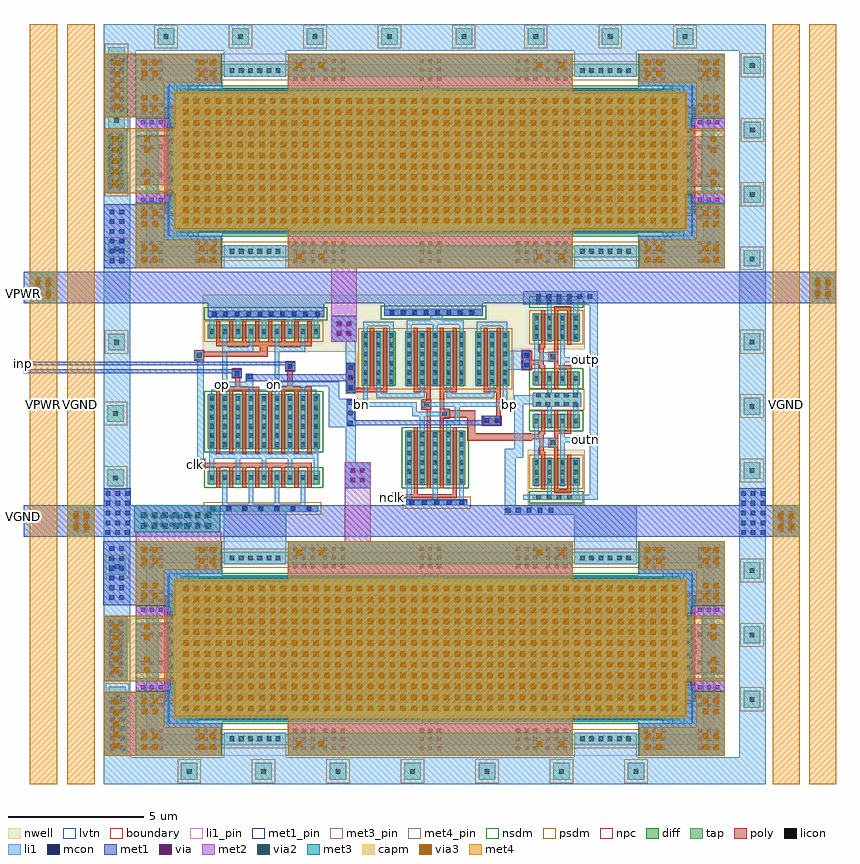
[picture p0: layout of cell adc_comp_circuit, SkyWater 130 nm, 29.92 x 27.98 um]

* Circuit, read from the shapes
.subckt adc_comp_circuit VGND VPWR bn bp clk inn inp nclk on op outn outp
XM1 VGND on VGND VGND sky130_fd_pr__nfet_01v8 w=18.4 l=3.9
XM2 VGND op VGND VGND sky130_fd_pr__nfet_01v8 w=18.4 l=3.9
XM3 VGND clk n1 VGND sky130_fd_pr__nfet_01v8 w=0.5 l=0.15 m=8
XM4 op inn n1 VGND sky130_fd_pr__nfet_01v8_lvt w=2 l=0.15 m=4
XM5 on inp n1 VGND sky130_fd_pr__nfet_01v8_lvt w=2 l=0.15 m=4
XM6 bn nclk VGND VGND sky130_fd_pr__nfet_01v8 w=2 l=0.15
XM7 VGND bp bn VGND sky130_fd_pr__nfet_01v8 w=2 l=0.15
XM8 bp bn VGND VGND sky130_fd_pr__nfet_01v8 w=2 l=0.15
XM9 VGND nclk bp VGND sky130_fd_pr__nfet_01v8 w=2 l=0.15
XM10 VGND bn n2 VGND sky130_fd_pr__nfet_01v8 w=0.5 l=0.15
XM11 VGND bp n3 VGND sky130_fd_pr__nfet_01v8 w=0.5 l=0.15
XM12 outn n2 VGND VGND sky130_fd_pr__nfet_01v8 w=0.5 l=0.15 m=2
XM13 outp n3 VGND VGND sky130_fd_pr__nfet_01v8 w=0.5 l=0.15 m=2
XM14 op clk VPWR VPWR sky130_fd_pr__pfet_01v8 w=0.5 l=0.15 m=4
XM15 on clk VPWR VPWR sky130_fd_pr__pfet_01v8 w=0.5 l=0.15 m=4
XM16 n4 op bn VPWR sky130_fd_pr__pfet_01v8 w=2 l=0.15 m=2
XM17 n4 bp VPWR VPWR sky130_fd_pr__pfet_01v8 w=2 l=0.15 m=2
XM18 n5 bn VPWR VPWR sky130_fd_pr__pfet_01v8 w=2 l=0.15 m=2
XM19 n5 on bp VPWR sky130_fd_pr__pfet_01v8 w=2 l=0.15 m=2
XM20 VPWR bn n2 VPWR sky130_fd_pr__pfet_01v8 w=1 l=0.15
XM21 VPWR bp n3 VPWR sky130_fd_pr__pfet_01v8 w=1 l=0.15
XM22 outn n2 VPWR VPWR sky130_fd_pr__pfet_01v8 w=1 l=0.15 m=2
XM23 outp n3 VPWR VPWR sky130_fd_pr__pfet_01v8 w=1 l=0.15 m=2
XC24 VGND VGND sky130_fd_pr__cap_mim_m3_1 w=18.9 l=5.1 m=2
.ends

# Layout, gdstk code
import gdstk
lib = gdstk.Library(unit=1e-6, precision=1e-09)
def R(c, l, rs):  # rectangles x0, y0, x1, y1
    for r in rs: c.add(gdstk.rectangle(r[:2], r[2:], *l))
def A(c, l, x, y, w, h, nx, ny, dx, dy):  # array of equal rectangles
    R(c, l, [(x+i*dx, y+j*dy, x+i*dx+w, y+j*dy+h) for i in range(nx) for j in range(ny)])
nwell = (64, 20)
diff = (65, 20)
tap = (65, 44)
poly = (66, 20)
licon = (66, 44)
li1_pin = (67, 16)
li1 = (67, 20)
mcon = (67, 44)
met1_pin = (68, 16)
met1 = (68, 20)
via = (68, 44)
met2 = (69, 20)
via2 = (69, 44)
met3_pin = (70, 16)
met3 = (70, 20)
via3 = (70, 44)
met4_pin = (71, 16)
met4 = (71, 20)
capm = (89, 44)
nsdm = (93, 44)
psdm = (94, 20)
npc = (95, 20)
lvtn = (125, 44)
boundary = (235, 4)

adc_noise_decoup_cell2 = lib.new_cell('adc_noise_decoup_cell2')
R(adc_noise_decoup_cell2, diff, [(1.65,1.3,20.05,6.6)])
R(adc_noise_decoup_cell2, tap, [(3.25,0.4,5.55,0.85), (16.15,0.4,18.45,0.85), (3.25,7.05,5.55,7.5), (16.15,7.05,18.45,7.5)])
R(adc_noise_decoup_cell2, poly, [(1.05,2,20.6,3.75), (1.05,3.75,20.65,4.15), (1.05,4.15,20.6,5.9)])
A(adc_noise_decoup_cell2, licon, 3.465, 0.54, 0.17, 0.17, 6, 2, 0.34, 6.65)
A(adc_noise_decoup_cell2, licon, 16.365, 0.54, 0.17, 0.17, 6, 2, 0.34, 6.65)
A(adc_noise_decoup_cell2, licon, 20.29, 2.69, 0.17, 0.17, 1, 3, 0, 0.45)
A(adc_noise_decoup_cell2, licon, 1.24, 2.74, 0.17, 0.17, 1, 3, 0, 0.45)
A(adc_noise_decoup_cell2, licon, 20.29, 4.09, 0.17, 0.17, 1, 3, 0, 0.45)
A(adc_noise_decoup_cell2, licon, 1.24, 4.14, 0.17, 0.17, 1, 3, 0, 0.45)
R(adc_noise_decoup_cell2, licon, [(1.745,1.565,1.915,1.735), (2.085,1.565,2.255,1.735), (2.545,1.565,2.715,1.735), (2.885,1.565,3.055,1.735), (3.345,1.565,3.515,1.735), (3.685,1.565,3.855,1.735), (4.145,1.565,4.315,1.735), (4.485,1.565,4.655,1.735), (4.945,1.565,5.115,1.735), (5.285,1.565,5.455,1.735), (5.745,1.565,5.915,1.735), (6.085,1.565,6.255,1.735), (6.545,1.565,6.715,1.735), (6.885,1.565,7.055,1.735), (14.645,1.565,14.815,1.735), (14.985,1.565,15.155,1.735), (15.445,1.565,15.615,1.735), (15.785,1.565,15.955,1.735), (16.245,1.565,16.415,1.735), (16.585,1.565,16.755,1.735), (17.045,1.565,17.215,1.735), (17.385,1.565,17.555,1.735), (17.845,1.565,18.015,1.735), (18.185,1.565,18.355,1.735), (18.645,1.565,18.815,1.735), (18.985,1.565,19.155,1.735), (19.445,1.565,19.615,1.735), (19.785,1.565,19.955,1.735), (1.745,6.165,1.915,6.335), (2.085,6.165,2.255,6.335), (2.545,6.165,2.715,6.335), (2.885,6.165,3.055,6.335), (3.345,6.165,3.515,6.335), (3.685,6.165,3.855,6.335), (4.145,6.165,4.315,6.335), (4.485,6.165,4.655,6.335), (4.945,6.165,5.115,6.335), (5.285,6.165,5.455,6.335), (5.745,6.165,5.915,6.335), (6.085,6.165,6.255,6.335), (6.545,6.165,6.715,6.335), (6.885,6.165,7.055,6.335), (14.645,6.165,14.815,6.335), (14.985,6.165,15.155,6.335), (15.445,6.165,15.615,6.335), (15.785,6.165,15.955,6.335), (16.245,6.165,16.415,6.335), (16.585,6.165,16.755,6.335), (17.045,6.165,17.215,6.335), (17.385,6.165,17.555,6.335), (17.845,6.165,18.015,6.335), (18.185,6.165,18.355,6.335), (18.645,6.165,18.815,6.335), (18.985,6.165,19.155,6.335), (19.445,6.165,19.615,6.335), (19.785,6.165,19.955,6.335)])
R(adc_noise_decoup_cell2, li1_pin, [(3.25,0,5.55,0.4), (16.15,0,18.45,0.4), (3.25,7.5,5.55,7.9), (16.15,7.5,18.45,7.9)])
A(adc_noise_decoup_cell2, li1, 5.15, 2, 0.2, 1.5, 15, 2, 0.8, 2.4)
A(adc_noise_decoup_cell2, li1, 4.75, 2.2, 0.2, 1.55, 7, 1, 0.8, 0)
A(adc_noise_decoup_cell2, li1, 11.95, 2.2, 0.2, 1.55, 7, 1, 0.8, 0)
A(adc_noise_decoup_cell2, li1, 4.75, 4.15, 0.2, 1.55, 16, 1, 0.8, 0)
R(adc_noise_decoup_cell2, li1, [(3.25,0,5.55,0.4), (16.15,0,18.45,0.4), (0.4,0.4,21.3,0.8), (0.4,0.8,0.8,7.1), (3.25,0.8,5.55,0.85), (16.15,0.8,18.45,0.85), (20.9,0.8,21.3,7.1), (1.6,1.4,20.1,2), (4.2,2,4.55,2.6), (17.15,2,17.5,2.6), (1.2,2.2,4,2.4), (17.7,2.2,20.5,2.4), (10.35,2.25,10.55,3.75), (11.15,2.25,11.35,3.75), (1.2,2.4,1.75,3), (19.95,2.4,20.5,3), (1.95,2.6,4.55,2.8), (17.15,2.6,19.75,2.8), (4.2,2.8,4.55,3.4), (17.15,2.8,17.5,3.4), (1.2,3,4,3.2), (17.7,3,20.5,3.2), (1.2,3.2,1.75,3.8), (19.95,3.2,20.5,3.8), (1.95,3.4,4.55,3.6), (17.15,3.4,19.7,3.6), (4.75,3.75,16.95,3.8), (1.2,3.8,20.5,4.1), (1.2,4.1,1.75,4.7), (4.75,4.1,16.95,4.15), (19.95,4.1,20.5,4.7), (1.95,4.3,4.55,4.5), (17.15,4.3,19.7,4.5), (4.2,4.5,4.55,5.1), (17.15,4.5,17.5,5.1), (1.2,4.7,4,4.9), (17.7,4.7,20.5,4.9), (1.2,4.9,1.75,5.5), (19.95,4.9,20.5,5.5), (1.95,5.1,4.55,5.3), (17.15,5.1,19.75,5.3), (4.2,5.3,4.55,5.9), (17.15,5.3,17.5,5.9), (1.2,5.5,4,5.7), (17.7,5.5,20.5,5.7), (1.6,5.9,20.1,6.5), (3.25,7.05,5.55,7.1), (16.15,7.05,18.45,7.1), (0.4,7.1,21.3,7.5), (3.25,7.5,5.55,7.9), (16.15,7.5,18.45,7.9)])
R(adc_noise_decoup_cell2, mcon, [(1.735,1.565,1.905,1.735), (2.095,1.565,2.265,1.735), (2.535,1.565,2.705,1.735), (2.895,1.565,3.065,1.735), (3.335,1.565,3.505,1.735), (3.695,1.565,3.865,1.735), (4.135,1.565,4.305,1.735), (4.495,1.565,4.665,1.735), (17.035,1.565,17.205,1.735), (17.395,1.565,17.565,1.735), (17.835,1.565,18.005,1.735), (18.195,1.565,18.365,1.735), (18.635,1.565,18.805,1.735), (18.995,1.565,19.165,1.735), (19.435,1.565,19.605,1.735), (19.795,1.565,19.965,1.735), (20.19,3.14,20.36,3.31), (1.34,3.19,1.51,3.36), (20.19,3.59,20.36,3.76), (1.34,3.64,1.51,3.81), (20.19,4.09,20.36,4.26), (1.34,4.14,1.51,4.31), (20.19,4.54,20.36,4.71), (1.34,4.59,1.51,4.76), (1.735,6.165,1.905,6.335), (2.095,6.165,2.265,6.335), (2.535,6.165,2.705,6.335), (2.895,6.165,3.065,6.335), (3.335,6.165,3.505,6.335), (3.695,6.165,3.865,6.335), (4.135,6.165,4.305,6.335), (4.495,6.165,4.665,6.335), (17.035,6.165,17.205,6.335), (17.395,6.165,17.565,6.335), (17.835,6.165,18.005,6.335), (18.195,6.165,18.365,6.335), (18.635,6.165,18.805,6.335), (18.995,6.165,19.165,6.335), (19.435,6.165,19.605,6.335), (19.795,6.165,19.965,6.335)])
R(adc_noise_decoup_cell2, met1_pin, [(0,0,3.2,1.2), (0,0,1.2,2.85), (5.6,0,16.1,1.2), (18.5,0,21.7,1.2), (20.5,0,21.7,2.85), (20.5,3,21.7,4.85), (0,3.05,1.2,4.9), (0,5.05,1.2,7.9), (20.5,5.05,21.7,7.9), (0,6.7,3.2,7.9), (5.6,6.7,16.1,7.9), (18.5,6.7,21.7,7.9)])
A(adc_noise_decoup_cell2, met1, 10.55, 1.2, 0.6, 0.45, 1, 4, 0, 0.6)
A(adc_noise_decoup_cell2, met1, 4.95, 1.65, 11.8, 0.15, 1, 3, 0, 0.6)
A(adc_noise_decoup_cell2, met1, 1.8, 2, 0.15, 1.3, 4, 1, 0.6, 0)
A(adc_noise_decoup_cell2, met1, 17.95, 2, 0.15, 1.3, 4, 1, 0.6, 0)
A(adc_noise_decoup_cell2, met1, 2.1, 2.15, 0.15, 1.3, 4, 1, 0.6, 0)
A(adc_noise_decoup_cell2, met1, 17.65, 2.15, 0.15, 1.3, 4, 1, 0.6, 0)
A(adc_noise_decoup_cell2, met1, 2.1, 4.25, 0.15, 1.5, 4, 1, 0.6, 0)
A(adc_noise_decoup_cell2, met1, 17.65, 4.25, 0.15, 1.5, 4, 1, 0.6, 0)
A(adc_noise_decoup_cell2, met1, 4.95, 4.3, 11.8, 0.15, 1, 4, 0, 0.6)
A(adc_noise_decoup_cell2, met1, 10.55, 4.45, 0.6, 0.45, 1, 4, 0, 0.6)
A(adc_noise_decoup_cell2, met1, 1.8, 4.55, 0.15, 1.35, 4, 1, 0.6, 0)
A(adc_noise_decoup_cell2, met1, 17.95, 4.55, 0.15, 1.35, 4, 1, 0.6, 0)
R(adc_noise_decoup_cell2, met1, [(0,0,3.2,1.2), (5.6,0,16.1,1.2), (18.5,0,21.7,1.2), (0,1.2,2.3,1.35), (19.4,1.2,21.7,1.35), (0,1.35,10.4,1.5), (11.3,1.35,21.7,1.5), (0,1.5,4.8,1.95), (16.9,1.5,21.7,1.95), (0,1.95,1.2,2.85), (1.65,1.95,10.4,2), (11.3,1.95,20.05,2), (20.5,1.95,21.7,2.85), (4.2,2,10.4,2.1), (11.3,2,17.5,2.1), (4.2,2.1,4.8,2.55), (16.9,2.1,17.5,2.55), (4.2,2.55,10.4,2.7), (11.3,2.55,17.5,2.7), (4.2,2.7,4.8,3.15), (16.9,2.7,17.5,3.15), (20.05,3,21.7,3.45), (0,3.05,1.65,3.45), (4.2,3.15,10.4,3.3), (11.3,3.15,17.5,3.3), (0,3.45,21.7,4.15), (0,4.15,4.05,4.25), (10.55,4.15,11.15,4.3), (17.65,4.15,21.7,4.25), (0,4.25,1.65,4.9), (20.05,4.25,21.7,4.85), (4.2,4.4,4.8,4.6), (16.9,4.4,17.5,4.6), (4.2,4.6,10.4,4.75), (11.3,4.6,17.5,4.75), (4.2,4.75,4.8,5.2), (16.9,4.75,17.5,5.2), (0,5.05,1.2,5.95), (20.5,5.05,21.7,5.95), (4.2,5.2,10.4,5.35), (11.3,5.2,17.5,5.35), (4.2,5.35,4.8,5.8), (16.9,5.35,17.5,5.8), (4.2,5.8,10.4,5.9), (11.3,5.8,17.5,5.9), (1.65,5.9,10.4,5.95), (11.3,5.9,20.05,5.95), (0,5.95,4.8,6.4), (16.9,5.95,21.7,6.4), (0,6.4,10.4,6.55), (11.3,6.4,21.7,6.55), (0,6.55,2.3,6.7), (19.4,6.55,21.7,6.7), (0,6.7,3.2,7.9), (5.6,6.7,16.1,7.9), (18.5,6.7,21.7,7.9)])
A(adc_noise_decoup_cell2, via, 0.205, 0.205, 0.15, 0.15, 3, 3, 0.32, 0.32)
A(adc_noise_decoup_cell2, via, 2.205, 0.205, 0.15, 0.15, 3, 3, 0.32, 0.32)
A(adc_noise_decoup_cell2, via, 5.805, 0.205, 0.15, 0.15, 3, 3, 0.32, 0.32)
A(adc_noise_decoup_cell2, via, 6.905, 0.205, 0.15, 0.15, 3, 3, 0.32, 0.32)
A(adc_noise_decoup_cell2, via, 10.455, 0.205, 0.15, 0.15, 3, 3, 0.32, 0.32)
A(adc_noise_decoup_cell2, via, 14.005, 0.205, 0.15, 0.15, 3, 3, 0.32, 0.32)
A(adc_noise_decoup_cell2, via, 15.105, 0.205, 0.15, 0.15, 3, 3, 0.32, 0.32)
A(adc_noise_decoup_cell2, via, 18.705, 0.205, 0.15, 0.15, 3, 3, 0.32, 0.32)
A(adc_noise_decoup_cell2, via, 20.705, 0.205, 0.15, 0.15, 3, 3, 0.32, 0.32)
A(adc_noise_decoup_cell2, via, 0.205, 1.805, 0.15, 0.15, 3, 3, 0.32, 0.32)
A(adc_noise_decoup_cell2, via, 20.705, 1.805, 0.15, 0.15, 3, 3, 0.32, 0.32)
A(adc_noise_decoup_cell2, via, 0.205, 3.35, 0.15, 0.15, 3, 2, 0.32, 1.05)
A(adc_noise_decoup_cell2, via, 20.705, 3.35, 0.15, 0.15, 3, 2, 0.32, 1.05)
A(adc_noise_decoup_cell2, via, 0.205, 5.305, 0.15, 0.15, 3, 3, 0.32, 0.32)
A(adc_noise_decoup_cell2, via, 20.705, 5.305, 0.15, 0.15, 3, 3, 0.32, 0.32)
A(adc_noise_decoup_cell2, via, 0.205, 6.905, 0.15, 0.15, 3, 3, 0.32, 0.32)
A(adc_noise_decoup_cell2, via, 2.205, 6.905, 0.15, 0.15, 3, 3, 0.32, 0.32)
A(adc_noise_decoup_cell2, via, 5.805, 6.905, 0.15, 0.15, 3, 3, 0.32, 0.32)
A(adc_noise_decoup_cell2, via, 6.905, 6.905, 0.15, 0.15, 3, 3, 0.32, 0.32)
A(adc_noise_decoup_cell2, via, 10.455, 6.905, 0.15, 0.15, 3, 3, 0.32, 0.32)
A(adc_noise_decoup_cell2, via, 14.005, 6.905, 0.15, 0.15, 3, 3, 0.32, 0.32)
A(adc_noise_decoup_cell2, via, 15.105, 6.905, 0.15, 0.15, 3, 3, 0.32, 0.32)
A(adc_noise_decoup_cell2, via, 18.705, 6.905, 0.15, 0.15, 3, 3, 0.32, 0.32)
A(adc_noise_decoup_cell2, via, 20.705, 6.905, 0.15, 0.15, 3, 3, 0.32, 0.32)
A(adc_noise_decoup_cell2, met2, 4.1, 2, 0.3, 0.45, 1, 3, 0, 0.6)
A(adc_noise_decoup_cell2, met2, 4.85, 2, 0.15, 1.65, 10, 2, 0.6, 2.25)
A(adc_noise_decoup_cell2, met2, 11.3, 2, 0.15, 1.65, 10, 2, 0.6, 2.25)
A(adc_noise_decoup_cell2, met2, 17.3, 2, 0.3, 0.45, 1, 3, 0, 0.6)
A(adc_noise_decoup_cell2, met2, 4.55, 2.15, 0.15, 1.65, 10, 2, 0.6, 1.95)
A(adc_noise_decoup_cell2, met2, 11.6, 2.15, 0.15, 1.65, 10, 2, 0.6, 1.95)
A(adc_noise_decoup_cell2, met2, 4.1, 4.25, 0.3, 0.45, 1, 3, 0, 0.6)
A(adc_noise_decoup_cell2, met2, 17.3, 4.25, 0.3, 0.45, 1, 3, 0, 0.6)
R(adc_noise_decoup_cell2, met2, [(0,0,3.2,1.2), (5.6,0,16.1,1.4), (18.5,0,21.7,1.2), (0,1.2,1.95,2.15), (19.75,1.2,21.7,2.15), (2.1,1.4,19.6,2), (0,2.15,3.95,2.3), (10.55,2.15,11.15,3.8), (17.75,2.15,21.7,2.3), (0,2.3,1.95,2.75), (19.75,2.3,21.7,2.75), (2.1,2.45,4.4,2.6), (17.3,2.45,19.6,2.6), (0,2.75,3.95,2.85), (17.75,2.75,21.7,2.85), (1.4,2.85,3.95,2.9), (17.75,2.85,20.3,2.9), (1.4,2.9,1.95,3.35), (19.75,2.9,20.3,3.35), (0,3.05,1.2,4.85), (2.1,3.05,4.4,3.2), (17.3,3.05,19.6,3.2), (20.5,3.05,21.7,4.85), (1.4,3.35,3.95,3.8), (17.75,3.35,20.3,3.8), (1.4,3.8,20.3,4.1), (1.4,4.1,3.95,4.4), (10.55,4.1,11.15,5.75), (17.75,4.1,20.3,4.4), (1.4,4.4,1.95,5), (19.75,4.4,20.3,5), (2.1,4.7,4.4,4.85), (17.3,4.7,19.6,4.85), (1.4,5,3.95,5.05), (17.75,5,20.3,5.05), (0,5.05,3.95,5.15), (17.75,5.05,21.7,5.15), (0,5.15,1.95,5.6), (19.75,5.15,21.7,5.6), (2.1,5.3,4.4,5.45), (17.3,5.3,19.6,5.45), (0,5.6,3.95,5.75), (17.75,5.6,21.7,5.75), (0,5.75,1.95,6.7), (19.75,5.75,21.7,6.7), (2.1,5.9,19.6,6.5), (5.6,6.5,16.1,7.9), (0,6.7,3.2,7.9), (18.5,6.7,21.7,7.9)])
R(adc_noise_decoup_cell2, met3_pin, [(0,0,3.2,1.2), (0,0,1.25,2.4), (5.6,0,16.1,0.85), (18.5,0,21.7,1.2), (20.45,0,21.7,2.4), (0,2.75,0.85,5.15), (20.85,2.75,21.7,5.15), (0,5.5,1.25,7.9), (20.45,5.5,21.7,7.9), (0,6.7,3.2,7.9), (18.5,6.7,21.7,7.9), (5.6,7.05,16.1,7.9)])
R(adc_noise_decoup_cell2, met3, [(0,0,3.2,1.25), (5.6,0,16.1,0.85), (18.5,0,21.7,1.25), (0,1.25,21.7,2.4), (1.25,2.4,20.45,5.5), (0,2.75,0.85,5.15), (20.85,2.75,21.7,5.15), (0,5.5,21.7,6.65), (0,6.65,3.2,7.9), (18.5,6.65,21.7,7.9), (5.6,7.05,16.1,7.9)])
A(adc_noise_decoup_cell2, via3, 1.75, 1.65, 0.2, 0.2, 46, 12, 0.4, 0.4)
R(adc_noise_decoup_cell2, via3, [(0.225,0.225,0.425,0.425), (0.625,0.225,0.825,0.425), (2.325,0.225,2.525,0.425), (2.725,0.225,2.925,0.425), (18.775,0.225,18.975,0.425), (19.175,0.225,19.375,0.425), (20.875,0.225,21.075,0.425), (21.275,0.225,21.475,0.425), (5.925,0.325,6.125,0.525), (6.725,0.325,6.925,0.525), (14.775,0.325,14.975,0.525), (15.575,0.325,15.775,0.525), (0.225,0.625,0.425,0.825), (0.625,0.625,0.825,0.825), (2.325,0.625,2.525,0.825), (2.725,0.625,2.925,0.825), (18.775,0.625,18.975,0.825), (19.175,0.625,19.375,0.825), (20.875,0.625,21.075,0.825), (21.275,0.625,21.475,0.825), (0.225,1.525,0.425,1.725), (0.625,1.525,0.825,1.725), (20.875,1.525,21.075,1.725), (21.275,1.525,21.475,1.725), (0.225,1.925,0.425,2.125), (0.625,1.925,0.825,2.125), (20.875,1.925,21.075,2.125), (21.275,1.925,21.475,2.125), (0.325,3.05,0.525,3.25), (21.175,3.05,21.375,3.25), (0.325,3.45,0.525,3.65), (21.175,3.45,21.375,3.65), (0.325,4.25,0.525,4.45), (21.175,4.25,21.375,4.45), (0.325,4.65,0.525,4.85), (21.175,4.65,21.375,4.85), (0.225,5.775,0.425,5.975), (0.625,5.775,0.825,5.975), (20.875,5.775,21.075,5.975), (21.275,5.775,21.475,5.975), (0.225,6.175,0.425,6.375), (0.625,6.175,0.825,6.375), (20.875,6.175,21.075,6.375), (21.275,6.175,21.475,6.375), (0.225,7.075,0.425,7.275), (0.625,7.075,0.825,7.275), (2.325,7.075,2.525,7.275), (2.725,7.075,2.925,7.275), (18.775,7.075,18.975,7.275), (19.175,7.075,19.375,7.275), (20.875,7.075,21.075,7.275), (21.275,7.075,21.475,7.275), (5.925,7.375,6.125,7.575), (6.725,7.375,6.925,7.575), (14.775,7.375,14.975,7.575), (15.575,7.375,15.775,7.575), (0.225,7.475,0.425,7.675), (0.625,7.475,0.825,7.675), (2.325,7.475,2.525,7.675), (2.725,7.475,2.925,7.675), (18.775,7.475,18.975,7.675), (19.175,7.475,19.375,7.675), (20.875,7.475,21.075,7.675), (21.275,7.475,21.475,7.675)])
R(adc_noise_decoup_cell2, met4, [(0,0,3.15,1.05), (5.6,0,16.1,1.45), (18.55,0,21.7,1.05), (0,1.05,1.05,2.35), (20.65,1.05,21.7,2.35), (1.45,1.45,20.25,2.75), (0,2.75,21.7,5.15), (1.45,5.15,20.25,6.45), (0,5.55,1.05,6.85), (20.65,5.55,21.7,6.85), (5.6,6.45,16.1,7.9), (0,6.85,3.15,7.9), (18.55,6.85,21.7,7.9)])
R(adc_noise_decoup_cell2, capm, [(1.4,1.4,20.3,6.5)])
R(adc_noise_decoup_cell2, nsdm, [(1.525,1.175,20.175,6.725)])
R(adc_noise_decoup_cell2, psdm, [(3.125,0.275,5.675,0.975), (16.025,0.275,18.575,0.975), (3.125,6.925,5.675,7.625), (16.025,6.925,18.575,7.625)])
R(adc_noise_decoup_cell2, npc, [(20.19,2.59,20.56,5.26), (1.14,2.64,1.51,5.31)])
R(adc_noise_decoup_cell2, boundary, [(0,0,21.7,7.9)])
adc_noise_decoup_cell2.add(gdstk.Label('nmoscap_bot', (1.6,0.6), layer=68, texttype=16))
adc_noise_decoup_cell2.add(gdstk.Label('nmoscap_bot', (1.6,7.3), layer=68, texttype=16))
adc_noise_decoup_cell2.add(gdstk.Label('nmoscap_bot', (20.1,0.6), layer=68, texttype=16))
adc_noise_decoup_cell2.add(gdstk.Label('nmoscap_bot', (20.1,7.3), layer=68, texttype=16))
adc_noise_decoup_cell2.add(gdstk.Label('nmoscap_bot', (0.6,6.475), layer=68, texttype=16))
adc_noise_decoup_cell2.add(gdstk.Label('nmoscap_bot', (0.6,1.425), layer=68, texttype=16))
adc_noise_decoup_cell2.add(gdstk.Label('nmoscap_bot', (21.1,1.425), layer=68, texttype=16))
adc_noise_decoup_cell2.add(gdstk.Label('nmoscap_bot', (21.1,6.475), layer=68, texttype=16))
adc_noise_decoup_cell2.add(gdstk.Label('nmoscap_top', (10.85,0.6), layer=68, texttype=16))
adc_noise_decoup_cell2.add(gdstk.Label('nmoscap_top', (10.85,7.3), layer=68, texttype=16))
adc_noise_decoup_cell2.add(gdstk.Label('nmoscap_top', (0.6,3.975), layer=68, texttype=16))
adc_noise_decoup_cell2.add(gdstk.Label('nmoscap_top', (21.1,3.925), layer=68, texttype=16))
adc_noise_decoup_cell2.add(gdstk.Label('pwell', (4.4,0.2), layer=67, texttype=16))
adc_noise_decoup_cell2.add(gdstk.Label('pwell', (17.3,0.2), layer=67, texttype=16))
adc_noise_decoup_cell2.add(gdstk.Label('pwell', (4.4,7.7), layer=67, texttype=16))
adc_noise_decoup_cell2.add(gdstk.Label('pwell', (17.3,7.7), layer=67, texttype=16))
adc_noise_decoup_cell2.add(gdstk.Label('mimcap_bot', (1.6,0.6), layer=70, texttype=16))
adc_noise_decoup_cell2.add(gdstk.Label('mimcap_bot', (20.1,0.6), layer=70, texttype=16))
adc_noise_decoup_cell2.add(gdstk.Label('mimcap_bot', (1.6,7.3), layer=70, texttype=16))
adc_noise_decoup_cell2.add(gdstk.Label('mimcap_bot', (20.1,7.3), layer=70, texttype=16))
adc_noise_decoup_cell2.add(gdstk.Label('mimcap_bot', (0.625,6.7), layer=70, texttype=16))
adc_noise_decoup_cell2.add(gdstk.Label('mimcap_bot', (0.625,1.2), layer=70, texttype=16))
adc_noise_decoup_cell2.add(gdstk.Label('mimcap_bot', (21.075,1.2), layer=70, texttype=16))
adc_noise_decoup_cell2.add(gdstk.Label('mimcap_bot', (21.075,6.7), layer=70, texttype=16))
adc_noise_decoup_cell2.add(gdstk.Label('mimcap_top', (10.85,0.425), layer=70, texttype=16))
adc_noise_decoup_cell2.add(gdstk.Label('mimcap_top', (10.85,7.475), layer=70, texttype=16))
adc_noise_decoup_cell2.add(gdstk.Label('mimcap_top', (21.275,3.95), layer=70, texttype=16))
adc_noise_decoup_cell2.add(gdstk.Label('mimcap_top', (0.425,3.95), layer=70, texttype=16))

adc_comp_buffer = lib.new_cell('adc_comp_buffer')
R(adc_comp_buffer, nwell, [(-0.05,0.24,2.04,2.26)])
R(adc_comp_buffer, diff, [(0.13,-1.08,1.86,-0.58), (0.13,0.55,1.86,1.55)])
R(adc_comp_buffer, tap, [(0.13,-1.61,1.91,-1.35), (0.13,1.89,1.86,2.08)])
R(adc_comp_buffer, poly, [(0.44,-1.21,0.59,-0.46), (0.92,-1.21,1.07,-0.5), (1.4,-1.21,1.55,-0.5), (0.92,-0.5,1.55,-0.35), (0.38,-0.46,0.59,-0.34), (-0.21,-0.37,0.11,-0.33), (0.92,-0.35,1.07,-0.2), (0.38,-0.34,0.54,-0.33), (-0.21,-0.33,0.54,-0.15), (0.75,-0.2,1.07,0.14), (-0.21,-0.15,0.11,-0.09), (0.38,-0.15,0.54,0.3), (0.92,0.14,1.07,1.68), (0.38,0.3,0.59,0.42), (0.44,0.42,0.59,1.68), (1.4,0.42,1.55,1.68), (0.92,1.68,1.55,1.83)])
A(adc_comp_buffer, licon, 0.26, -1.52, 0.17, 0.17, 5, 1, 0.34, 0)
A(adc_comp_buffer, licon, 0.19, -0.915, 0.17, 0.17, 4, 2, 0.48, 1.54)
A(adc_comp_buffer, licon, 0.19, 0.965, 0.17, 0.17, 4, 2, 0.48, 0.34)
A(adc_comp_buffer, licon, 0.26, 1.9, 0.17, 0.17, 4, 1, 0.38, 0)
R(adc_comp_buffer, licon, [(0.8,-0.115,0.97,0.055)])
R(adc_comp_buffer, li1, [(-0.21,-1.63,1.91,-1.44), (0.13,-1.44,1.91,-1.35), (0.67,-1.35,0.84,-0.56), (1.63,-1.35,1.8,-0.56), (0.19,-1.1,0.36,-0.2), (1.15,-1.1,1.32,-0.23), (1.15,-0.23,2.04,-0.04), (0.19,-0.2,0.98,0.14), (1.15,-0.04,1.32,1.57), (0.19,0.14,0.36,1.57), (0.67,0.53,0.84,1.89), (1.63,0.53,1.8,1.89), (-0.21,1.89,2.04,2.08)])
R(adc_comp_buffer, nsdm, [(0.005,-1.205,1.985,-0.455), (0.005,1.765,1.985,2.205)])
R(adc_comp_buffer, psdm, [(0.005,-1.735,2.035,-1.225), (0.005,0.425,1.985,1.675)])
R(adc_comp_buffer, npc, [(0.7,-0.215,1.07,0.155)])
adc_comp_buffer.add(gdstk.Label('VDD', (-0.21,1.985), layer=67, texttype=16))
adc_comp_buffer.add(gdstk.Label('VSS', (-0.21,-1.535), layer=67, texttype=16))
adc_comp_buffer.add(gdstk.Label('out', (2.04,-0.135), layer=67, texttype=16))
adc_comp_buffer.add(gdstk.Label('in', (-0.21,-0.23), layer=66, texttype=16))

adc_comp_circuit = lib.new_cell('adc_comp_circuit')
R(adc_comp_circuit, nwell, [(5.89,-2.73,11.68,-0.98), (2.85,-0.99,4.06,-0.98), (0.22,-0.98,11.68,-0.89), (0.22,-0.89,12.85,0.08), (0.22,0.08,14.29,1.13), (12.01,1.13,14.29,1.15)])
R(adc_comp_circuit, diff, [(7.68,-5.88,9.89,-3.88), (0.41,-5.85,4.54,-5.35), (0.41,-4.55,4.54,-2.55), (6.07,-2.23,7.32,-0.23), (7.68,-2.23,9.89,-0.23), (10.25,-2.23,11.5,-0.23), (0.41,-0.48,4.54,0.02)])
A(adc_comp_circuit, tap, -0.58, -16.73, 0.61, 0.62, 6, 1, 2.74, 0)
A(adc_comp_circuit, tap, 20.14, -14.08, 0.61, 0.62, 1, 3, 0, 2.37)
A(adc_comp_circuit, tap, -3.23, -13.93, 0.61, 0.62, 1, 3, 0, 2.37)
A(adc_comp_circuit, tap, 20.14, -5.66, 0.61, 0.62, 1, 3, 0, 2.37)
A(adc_comp_circuit, tap, -3.26, 2.5, 0.61, 0.62, 1, 4, 0, 2.37)
A(adc_comp_circuit, tap, -1.43, 10.32, 0.61, 0.62, 5, 1, 2.74, 0)
R(adc_comp_circuit, tap, [(15.87,-16.73,16.48,-16.11), (0.38,-6.86,4.47,-6.65), (7.71,-6.63,9.97,-6.44), (-3.3,-5.93,-2.69,-5.31), (-3.3,-3.56,-2.69,-2.94), (-3.26,-0.93,-2.65,-0.31), (0.41,0.3,4.69,0.54), (6.91,0.35,10.53,0.59), (20.14,2.17,20.75,2.76), (20.15,4.51,20.76,5.13), (20.15,6.88,20.76,7.5), (20.15,9.26,20.76,9.88), (12.18,10.32,12.79,10.94), (14.92,10.32,15.53,10.94), (17.67,10.32,18.28,10.94)])
A(adc_comp_circuit, poly, 0.72, -5.98, 0.15, 0.76, 8, 2, 0.48, 5.37)
A(adc_comp_circuit, poly, 0.72, -4.69, 0.15, 2.27, 8, 1, 0.48, 0)
A(adc_comp_circuit, poly, 7.99, -2.31, 0.15, 2.21, 4, 1, 0.48, 0)
R(adc_comp_circuit, poly, [(7.2,-6.49,7.53,-6.37), (7.2,-6.37,9.58,-6.22), (7.99,-6.22,8.14,-3.75), (9.43,-6.22,9.58,-3.75), (8.47,-6.01,8.62,-3.06), (8.95,-6.01,9.1,-3.4), (-0.03,-5.24,0.3,-5.22), (-0.03,-5.22,4.23,-5.07), (-0.03,-5.07,0.3,-4.97), (9.97,-4.26,12.33,-3.98), (9.97,-3.98,10.25,-3.4), (10.54,-3.68,11.19,-3.34), (8.95,-3.4,10.25,-3.13), (11.02,-3.34,11.19,-2.46), (8.95,-3.13,9.12,-2.46), (8.29,-3.06,8.62,-2.79), (8.45,-2.79,8.62,-2.46), (5.5,-2.46,7.01,-2.31), (7.99,-2.46,8.62,-2.31), (8.95,-2.46,9.58,-2.31), (10.56,-2.46,11.19,-2.31), (0.72,-2.42,2.31,-2.27), (2.64,-2.42,4.23,-2.27), (5.5,-2.31,5.84,-1.42), (6.38,-2.31,6.53,-0.1), (6.86,-2.31,7.01,-0.1), (10.56,-2.31,10.71,-0.1), (11.04,-2.31,11.19,-0.1), (1.42,-2.27,1.61,-1.92), (3.34,-2.27,3.53,-1.67), (1.3,-1.92,1.66,-1.62), (3.26,-1.67,3.62,-1.37), (11.98,-1.63,12.35,-0.94), (-0.07,-1.27,0.26,-1.16), (-0.07,-1.16,2.62,-0.98), (2.33,-0.98,2.62,-0.77), (0.72,-0.77,4.23,-0.61)])
A(adc_comp_circuit, licon, -0.36, -16.51, 0.17, 0.17, 6, 1, 2.74, 0)
A(adc_comp_circuit, licon, 20.36, -13.86, 0.17, 0.17, 1, 3, 0, 2.37)
A(adc_comp_circuit, licon, -3.01, -13.71, 0.17, 0.17, 1, 3, 0, 2.37)
A(adc_comp_circuit, licon, 0.505, -6.835, 0.17, 0.17, 7, 1, 0.59, 0)
A(adc_comp_circuit, licon, 7.835, -6.615, 0.17, 0.17, 5, 1, 0.46, 0)
A(adc_comp_circuit, licon, 7.74, -5.815, 0.17, 0.17, 5, 6, 0.48, 0.34)
A(adc_comp_circuit, licon, 0.47, -5.685, 0.17, 0.17, 9, 2, 0.48, 1.2)
A(adc_comp_circuit, licon, 20.36, -5.44, 0.17, 0.17, 1, 3, 0, 2.37)
A(adc_comp_circuit, licon, 0.47, -4.145, 0.17, 0.17, 9, 5, 0.48, 0.34)
A(adc_comp_circuit, licon, 5.585, -2.385, 0.17, 0.17, 1, 3, 0, 0.37)
A(adc_comp_circuit, licon, 6.13, -2.165, 0.17, 0.17, 3, 6, 0.48, 0.34)
A(adc_comp_circuit, licon, 7.74, -2.165, 0.17, 0.17, 5, 6, 0.48, 0.34)
A(adc_comp_circuit, licon, 10.31, -2.165, 0.17, 0.17, 3, 6, 0.48, 0.34)
A(adc_comp_circuit, licon, 0.47, -0.315, 0.17, 0.17, 9, 1, 0.48, 0)
A(adc_comp_circuit, licon, 0.56, 0.33, 0.17, 0.17, 9, 1, 0.42, 0)
A(adc_comp_circuit, licon, 7.1, 0.38, 0.17, 0.17, 8, 1, 0.42, 0)
A(adc_comp_circuit, licon, -3.04, 2.72, 0.17, 0.17, 1, 4, 0, 2.37)
A(adc_comp_circuit, licon, -1.21, 10.54, 0.17, 0.17, 5, 1, 2.74, 0)
R(adc_comp_circuit, licon, [(16.09,-16.51,16.26,-16.34), (7.28,-6.44,7.45,-6.27), (-3.08,-5.71,-2.91,-5.54), (0.05,-5.19,0.22,-5.02), (10.595,-3.595,10.765,-3.425), (10.965,-3.595,11.135,-3.425), (9.04,-3.35,9.21,-3.18), (-3.08,-3.34,-2.91,-3.17), (8.37,-3.01,8.54,-2.84), (1.395,-1.855,1.565,-1.685), (3.355,-1.605,3.525,-1.435), (12.055,-1.55,12.225,-1.38), (0.01,-1.2,0.18,-1.03), (12.055,-1.19,12.225,-1.02), (-3.04,-0.71,-2.87,-0.54), (4.37,0.33,4.54,0.5), (20.36,2.36,20.53,2.53), (20.37,4.73,20.54,4.9), (20.37,7.1,20.54,7.27), (20.37,9.48,20.54,9.65), (12.4,10.54,12.57,10.71), (15.14,10.54,15.31,10.71), (17.89,10.54,18.06,10.71)])
A(adc_comp_circuit, li1, 1.91, -6.58, 0.17, 1.25, 3, 1, 0.96, 0)
A(adc_comp_circuit, li1, 7.74, -6.44, 0.17, 2.58, 3, 1, 0.96, 0)
A(adc_comp_circuit, li1, 0.47, -5.87, 0.17, 0.95, 5, 1, 0.96, 0)
A(adc_comp_circuit, li1, 0.47, -4.74, 0.17, 2.21, 5, 1, 0.96, 0)
A(adc_comp_circuit, li1, 7.74, -2.25, 0.17, 2.26, 3, 1, 0.96, 0)
A(adc_comp_circuit, li1, 0.95, -0.8, 0.17, 0.84, 4, 1, 0.96, 0)
A(adc_comp_circuit, li1, 0.47, -0.5, 0.17, 0.71, 5, 1, 0.96, 0)
R(adc_comp_circuit, li1, [(-3.43,-16.89,20.96,-15.9), (-3.43,-15.9,-2.44,7.65), (1,-15.9,3.3,-15.85), (13.9,-15.9,16.2,-15.85), (19.97,-15.9,20.96,10.1), (1,-7.95,3.3,-6.86), (13.9,-7.95,16.2,-6.98), (11.34,-6.98,16.2,-6.63), (0.38,-6.86,4.47,-6.65), (0.95,-6.65,4,-6.58), (7.71,-6.63,9.97,-6.44), (11.34,-6.63,11.74,-4.88), (0.95,-6.58,1.12,-5.32), (7.2,-6.49,7.53,-6.22), (12.03,-6.43,14.76,-6.24), (14.48,-6.24,14.76,0.76), (5.45,-6,6.4,-5.05), (8.22,-5.9,8.39,-3.35), (9.18,-5.9,9.35,-3.69), (-0.03,-5.24,0.3,-4.97), (5.48,-5.05,5.86,-3.76), (0.03,-4.97,0.26,-1.27), (0.47,-4.92,4.48,-4.74), (11.34,-4.88,12.03,-4.54), (0.95,-4.57,1.12,-2.26), (1.91,-4.57,2.08,-2.26), (2.87,-4.57,3.04,-2.25), (3.83,-4.57,4,-2.25), (11.69,-4.54,12.03,-2.91), (13.95,-4.37,14.25,-4.31), (13.95,-4.31,14.31,-4.12), (13.95,-4.12,14.25,-4.07), (4.87,-3.76,5.86,-2.7), (9.18,-3.69,9.68,-3.52), (10.56,-3.68,11.17,-3.34), (9.51,-3.52,9.68,-3.01), (7.94,-3.35,9.29,-3.18), (7.94,-3.18,8.11,-3.01), (6.05,-3.01,8.11,-2.84), (8.29,-3.01,11.5,-2.84), (11.69,-2.91,12.18,-2.57), (6.13,-2.84,6.3,-0.04), (11.27,-2.84,11.44,-1.63), (4.87,-2.7,5.25,-2.25), (6.61,-2.67,8.39,-2.5), (9.18,-2.67,10.96,-2.5), (5.48,-2.53,5.86,-0.6), (6.61,-2.5,6.78,-0.21), (8.22,-2.5,8.39,-0.21), (9.18,-2.5,9.35,-0.21), (10.79,-2.5,10.96,-0.21), (0.95,-2.26,2.08,-2.09), (2.87,-2.25,5.25,-2.08), (7.09,-2.25,7.26,-0.04), (10.31,-2.25,10.48,-0.04), (0.95,-2.09,1.12,-0.97), (1.84,-2.09,2.08,-1.79), (2.87,-2.08,3.04,-0.97), (1.3,-1.92,1.66,-1.62), (3.26,-1.67,3.62,-1.37), (11.27,-1.63,12.26,-0.94), (13.93,-1.42,14.23,-1.36), (13.93,-1.36,14.3,-1.17), (-0.07,-1.27,0.26,-0.98), (13.93,-1.17,14.23,-1.12), (0.95,-0.97,2.08,-0.8), (2.87,-0.97,4,-0.8), (11.27,-0.94,11.44,-0.04), (4.95,-0.6,5.9,0.35), (6.13,-0.04,7.26,0.13), (10.31,-0.04,11.44,0.13), (7.74,0.01,9.83,0.18), (8.59,0.18,9.04,0.35), (0.47,0.21,4.48,0.3), (0.41,0.3,4.69,0.54), (6.91,0.35,10.53,0.59), (12.02,0.76,14.76,1.25), (-3.43,7.65,-2.25,10.1), (1,10,3.3,10.1), (13.9,10,16.2,10.1), (-3.43,10.1,20.96,11.09)])
A(adc_comp_circuit, mcon, -3.165, -15.66, 0.17, 0.17, 1, 6, 0, 0.36)
A(adc_comp_circuit, mcon, -2.805, -15.66, 0.17, 0.17, 1, 6, 0, 0.36)
A(adc_comp_circuit, mcon, -3.24, -12.885, 0.17, 0.17, 1, 6, 0, 0.36)
A(adc_comp_circuit, mcon, -2.88, -12.885, 0.17, 0.17, 1, 6, 0, 0.36)
A(adc_comp_circuit, mcon, -3.21, -10.11, 0.17, 0.17, 1, 6, 0, 0.36)
A(adc_comp_circuit, mcon, -2.85, -10.11, 0.17, 0.17, 1, 6, 0, 0.36)
A(adc_comp_circuit, mcon, -3.36, -7.72, 0.17, 0.17, 3, 1, 0.36, 0)
A(adc_comp_circuit, mcon, 20.04, -7.72, 0.17, 0.17, 3, 5, 0.36, 0.36)
A(adc_comp_circuit, mcon, -3.35, -7.36, 0.17, 0.17, 3, 4, 0.36, 0.36)
A(adc_comp_circuit, mcon, 11.755, -6.895, 0.17, 0.17, 4, 1, 0.4, 0)
A(adc_comp_circuit, mcon, 0.505, -6.835, 0.17, 0.17, 7, 1, 0.59, 0)
A(adc_comp_circuit, mcon, 7.835, -6.615, 0.17, 0.17, 5, 1, 0.46, 0)
A(adc_comp_circuit, mcon, 5.585, -2.385, 0.17, 0.17, 1, 3, 0, 0.37)
A(adc_comp_circuit, mcon, 0.56, 0.33, 0.17, 0.17, 9, 1, 0.42, 0)
A(adc_comp_circuit, mcon, 7.1, 0.38, 0.17, 0.17, 8, 1, 0.42, 0)
A(adc_comp_circuit, mcon, 12.495, 0.975, 0.17, 0.17, 6, 1, 0.38, 0)
A(adc_comp_circuit, mcon, -3.205, 2.29, 0.17, 0.17, 1, 6, 0, 0.36)
A(adc_comp_circuit, mcon, -2.845, 2.29, 0.17, 0.17, 1, 6, 0, 0.36)
A(adc_comp_circuit, mcon, -3.255, 5.065, 0.17, 0.17, 1, 6, 0, 0.36)
A(adc_comp_circuit, mcon, -2.895, 5.065, 0.17, 0.17, 1, 6, 0, 0.36)
A(adc_comp_circuit, mcon, -3.19, 7.865, 0.17, 0.17, 1, 6, 0, 0.36)
A(adc_comp_circuit, mcon, -2.83, 7.865, 0.17, 0.17, 1, 6, 0, 0.36)
R(adc_comp_circuit, mcon, [(11.385,-6.905,11.555,-6.735), (5.66,-5.79,5.83,-5.62), (6.02,-5.79,6.19,-5.62), (5.66,-5.43,5.83,-5.26), (6.02,-5.43,6.19,-5.26), (13.99,-4.305,14.16,-4.135), (5.585,-3.685,5.755,-3.515), (10.595,-3.595,10.765,-3.425), (10.965,-3.595,11.135,-3.425), (5.585,-3.315,5.755,-3.145), (5.585,-2.935,5.755,-2.765), (1.875,-1.995,2.045,-1.825), (1.395,-1.855,1.565,-1.685), (3.355,-1.605,3.525,-1.435), (12.055,-1.55,12.225,-1.38), (13.965,-1.355,14.135,-1.185), (12.055,-1.19,12.225,-1.02), (5.16,-0.39,5.33,-0.22), (5.52,-0.39,5.69,-0.22), (5.16,-0.03,5.33,0.14), (5.52,-0.03,5.69,0.14), (4.37,0.33,4.54,0.5)])
R(adc_comp_circuit, met1, [(-3.43,-15.85,-2.25,-13.5), (-3.43,-13.1,-2.55,-10.7), (-3.44,-10.3,-2.25,-7.95), (-6.37,-7.79,22.2,-6.63), (-3.43,-6.63,-2.43,-6.01), (7.71,-6.63,9.97,-6.41), (19.97,-6.63,20.96,-6.01), (5.45,-6,6.4,-5.05), (13.95,-4.37,14.25,-4.07), (5.52,-3.72,5.82,-3.68), (5.52,-3.68,11.19,-3.5), (5.52,-3.5,5.82,-2.73), (10.54,-3.5,11.19,-3.34), (5.52,-2.42,5.82,-2.07), (1.8,-2.07,5.82,-1.88), (1.3,-1.92,1.66,-1.76), (1.81,-1.88,5.82,-1.81), (1.81,-1.81,2.08,-1.79), (5.52,-1.81,5.82,-1.42), (-6.37,-1.76,1.66,-1.62), (3.26,-1.67,3.62,-1.48), (11.98,-1.64,12.26,-0.94), (-6.37,-1.48,3.62,-1.34), (13.93,-1.42,14.23,-1.12), (4.95,-0.6,5.9,0.35), (0.41,0.3,4.69,0.81), (6.91,0.35,10.53,0.81), (-6.37,0.81,23.55,1.96), (-3.43,2.1,-2.25,4.45), (-3.43,4.85,-2.55,7.25), (-3.43,7.65,-2.25,10)])
A(adc_comp_circuit, via, -3.205, -15.55, 0.15, 0.15, 1, 6, 0, 0.32)
A(adc_comp_circuit, via, -2.885, -15.55, 0.15, 0.15, 1, 6, 0, 0.32)
A(adc_comp_circuit, via, -3.21, -12.935, 0.15, 0.15, 1, 7, 0, 0.32)
A(adc_comp_circuit, via, -2.89, -12.935, 0.15, 0.15, 1, 7, 0, 0.32)
A(adc_comp_circuit, via, -4.485, -7.62, 0.15, 0.15, 1, 3, 0, 0.32)
A(adc_comp_circuit, via, -4.165, -7.62, 0.15, 0.15, 1, 3, 0, 0.32)
A(adc_comp_circuit, via, 21.465, -7.62, 0.15, 0.15, 1, 3, 0, 0.32)
A(adc_comp_circuit, via, 21.785, -7.62, 0.15, 0.15, 1, 3, 0, 0.32)
A(adc_comp_circuit, via, -1.955, -7.42, 0.15, 0.15, 8, 2, 0.32, 0.32)
A(adc_comp_circuit, via, -5.885, 0.98, 0.15, 0.15, 1, 3, 0, 0.32)
A(adc_comp_circuit, via, -5.565, 0.98, 0.15, 0.15, 1, 3, 0, 0.32)
A(adc_comp_circuit, via, 22.815, 0.98, 0.15, 0.15, 1, 3, 0, 0.32)
A(adc_comp_circuit, via, 23.135, 0.98, 0.15, 0.15, 1, 3, 0, 0.32)
A(adc_comp_circuit, via, -3.225, 5.015, 0.15, 0.15, 1, 7, 0, 0.32)
A(adc_comp_circuit, via, -2.905, 5.015, 0.15, 0.15, 1, 7, 0, 0.32)
A(adc_comp_circuit, via, -3.16, 7.975, 0.15, 0.15, 1, 6, 0, 0.32)
A(adc_comp_circuit, via, -2.84, 7.975, 0.15, 0.15, 1, 6, 0, 0.32)
R(adc_comp_circuit, via, [(5.69,-5.76,5.84,-5.61), (6.01,-5.76,6.16,-5.61), (5.69,-5.44,5.84,-5.29), (6.01,-5.44,6.16,-5.29), (5.19,-0.36,5.34,-0.21), (5.51,-0.36,5.66,-0.21), (5.19,-0.04,5.34,0.11), (5.51,-0.04,5.66,0.11)])
R(adc_comp_circuit, met2, [(-3.43,-15.85,-2.25,-13.5), (-3.43,-13.1,-2.55,-10.7), (5.45,-7.955,6.4,-5.05), (-2.25,-7.95,0.9,-7.63), (-4.76,-7.79,-3.76,-6.63), (21.2,-7.79,22.2,-6.63), (-2.29,-7.63,0.86,-6.63), (4.95,-0.6,5.9,2.1), (-6.14,0.81,-5.14,1.96), (22.55,0.81,23.55,1.96), (-3.43,4.85,-2.55,7.25), (-3.43,7.65,-2.25,10)])
A(adc_comp_circuit, via2, -3.07, -15.575, 0.2, 0.2, 1, 5, 0, 0.4)
A(adc_comp_circuit, via2, -3.075, -12.8, 0.2, 0.2, 1, 5, 0, 0.4)
A(adc_comp_circuit, via2, -2.06, -7.485, 0.2, 0.2, 7, 2, 0.4, 0.4)
A(adc_comp_circuit, via2, -3.29, 5.15, 0.2, 0.2, 1, 5, 0, 0.4)
A(adc_comp_circuit, via2, -2.89, 5.15, 0.2, 0.2, 1, 5, 0, 0.4)
A(adc_comp_circuit, via2, -3.025, 7.95, 0.2, 0.2, 1, 5, 0, 0.4)
R(adc_comp_circuit, via2, [(-4.55,-7.525,-4.35,-7.325), (-4.15,-7.525,-3.95,-7.325), (21.4,-7.525,21.6,-7.325), (21.8,-7.525,22,-7.325), (-4.55,-7.125,-4.35,-6.925), (-4.15,-7.125,-3.95,-6.925), (21.4,-7.125,21.6,-6.925), (21.8,-7.125,22,-6.925), (-5.95,1.075,-5.75,1.275), (-5.55,1.075,-5.35,1.275), (22.75,1.075,22.95,1.275), (23.15,1.075,23.35,1.275), (-5.95,1.475,-5.75,1.675), (-5.55,1.475,-5.35,1.675), (22.75,1.475,22.95,1.675), (23.15,1.475,23.35,1.675)])
R(adc_comp_circuit, met3, [(-3.43,-15.85,-2.57,-13.5), (-3.43,-13.1,-2.55,-10.7), (-4.76,-7.79,-3.76,-6.63), (21.2,-7.79,22.2,-6.63), (-2.29,-7.63,0.86,-6.63), (-6.14,0.81,-5.14,1.96), (22.55,0.81,23.55,1.96), (-3.43,4.85,-2.55,7.25), (-3.43,7.65,-2.56,10)])
A(adc_comp_circuit, via3, -3.07, -15.575, 0.2, 0.2, 1, 5, 0, 0.4)
A(adc_comp_circuit, via3, -3.075, -12.8, 0.2, 0.2, 1, 5, 0, 0.4)
A(adc_comp_circuit, via3, -3.09, 5.15, 0.2, 0.2, 1, 5, 0, 0.4)
A(adc_comp_circuit, via3, -3.025, 7.95, 0.2, 0.2, 1, 5, 0, 0.4)
R(adc_comp_circuit, via3, [(-4.55,-7.525,-4.35,-7.325), (-4.15,-7.525,-3.95,-7.325), (21.4,-7.525,21.6,-7.325), (21.8,-7.525,22,-7.325), (-4.55,-7.125,-4.35,-6.925), (-4.15,-7.125,-3.95,-6.925), (21.4,-7.125,21.6,-6.925), (21.8,-7.125,22,-6.925), (-5.95,1.075,-5.75,1.275), (-5.55,1.075,-5.35,1.275), (22.75,1.075,22.95,1.275), (23.15,1.075,23.35,1.275), (-5.95,1.475,-5.75,1.675), (-5.55,1.475,-5.35,1.675), (22.75,1.475,22.95,1.675), (23.15,1.475,23.35,1.675)])
R(adc_comp_circuit, met4_pin, [(-6.14,-16.89,-5.14,11.09), (-4.76,-16.89,-3.76,11.09), (21.2,-16.89,22.2,11.09), (22.55,-16.89,23.55,11.09)])
R(adc_comp_circuit, met4, [(-6.14,-16.89,-5.14,11.09), (-4.76,-16.89,-3.76,11.09), (21.2,-16.89,22.2,11.09), (22.55,-16.89,23.55,11.09), (-3.43,-15.85,-2.25,-13.5), (-3.43,-13.1,-2.25,-10.7), (-3.43,4.85,-2.25,7.25), (-3.43,7.65,-2.25,10)])
R(adc_comp_circuit, nsdm, [(7.555,-6.005,10.015,-3.755), (0.285,-5.975,4.665,-5.225), (0.285,-4.675,4.665,-2.425), (0.285,0.175,4.815,0.665), (6.785,0.225,10.655,0.715)])
A(adc_comp_circuit, psdm, -0.705, -16.855, 0.86, 0.87, 6, 1, 2.74, 0)
A(adc_comp_circuit, psdm, 20.015, -14.205, 0.86, 0.87, 1, 3, 0, 2.37)
A(adc_comp_circuit, psdm, -3.355, -14.055, 0.86, 0.87, 1, 3, 0, 2.37)
A(adc_comp_circuit, psdm, 20.015, -5.785, 0.86, 0.87, 1, 3, 0, 2.37)
A(adc_comp_circuit, psdm, -3.385, 2.375, 0.86, 0.87, 1, 4, 0, 2.37)
A(adc_comp_circuit, psdm, -1.555, 10.195, 0.86, 0.87, 5, 1, 2.74, 0)
R(adc_comp_circuit, psdm, [(15.745,-16.855,16.605,-15.985), (0.255,-6.985,4.595,-6.525), (7.585,-6.755,10.095,-6.315), (-3.425,-6.055,-2.565,-5.185), (-3.425,-3.685,-2.565,-2.815), (5.945,-2.355,11.625,-0.105), (-3.385,-1.055,-2.525,-0.185), (0.285,-0.605,4.665,0.145), (20.015,2.045,20.875,2.885), (20.025,4.385,20.885,5.255), (20.025,6.755,20.885,7.625), (20.025,9.135,20.885,10.005), (12.055,10.195,12.915,11.065), (14.795,10.195,15.655,11.065), (17.545,10.195,18.405,11.065)])
R(adc_comp_circuit, npc, [(7.18,-6.54,7.55,-6.17), (-0.05,-5.29,0.32,-4.92), (10.495,-3.695,11.235,-3.325), (8.94,-3.45,9.31,-3.08), (8.27,-3.11,8.64,-2.74), (5.485,-2.485,5.855,-1.375), (1.295,-1.955,1.665,-1.585), (3.255,-1.705,3.625,-1.335), (11.955,-1.65,12.325,-0.92), (-0.09,-1.3,0.28,-0.93)])
R(adc_comp_circuit, lvtn, [(0.54,-4.73,4.41,-2.37)])
adc_comp_circuit.add(gdstk.Reference(adc_noise_decoup_cell2, (-2.25,2.1)))
adc_comp_circuit.add(gdstk.Reference(adc_noise_decoup_cell2, (-2.25,-15.85)))
adc_comp_circuit.add(gdstk.Reference(adc_comp_buffer, (12.24,-4.35), x_reflection=True))
adc_comp_circuit.add(gdstk.Reference(adc_comp_buffer, (12.24,-1.13)))
adc_comp_circuit.add(gdstk.Label('bn', (6.05,-2.925), layer=67, texttype=5))
adc_comp_circuit.add(gdstk.Label('bp', (11.5,-2.925), layer=67, texttype=5))
adc_comp_circuit.add(gdstk.Label('on', (2.87,-2.17), layer=67, texttype=5))
adc_comp_circuit.add(gdstk.Label('op', (0.95,-2.17), layer=67, texttype=5))
adc_comp_circuit.add(gdstk.Label('VPWR', (-6.37,1.155), layer=68, texttype=16))
adc_comp_circuit.add(gdstk.Label('VGND', (-6.37,-7.025), layer=68, texttype=16))
adc_comp_circuit.add(gdstk.Label('inp', (-6.37,-1.41), layer=68, texttype=16))
adc_comp_circuit.add(gdstk.Label('inn', (-6.37,-1.69), layer=68, texttype=16))
adc_comp_circuit.add(gdstk.Label('outn', (14.31,-4.215), layer=67, texttype=16))
adc_comp_circuit.add(gdstk.Label('outp', (14.3,-1.265), layer=67, texttype=16))
adc_comp_circuit.add(gdstk.Label('clk', (-0.03,-5.145), layer=67, texttype=16))
adc_comp_circuit.add(gdstk.Label('nclk', (7.2,-6.355), layer=67, texttype=16))
adc_comp_circuit.add(gdstk.Label('VGND', (21.7,-2.9), layer=71, texttype=16))
adc_comp_circuit.add(gdstk.Label('VPWR', (23.05,-2.9), layer=71, texttype=16))
adc_comp_circuit.add(gdstk.Label('VGND', (-4.26,-2.9), layer=71, texttype=16))
adc_comp_circuit.add(gdstk.Label('VPWR', (-5.64,-2.9), layer=71, texttype=16))

lib.write_gds('adc_comp_circuit.gds')
